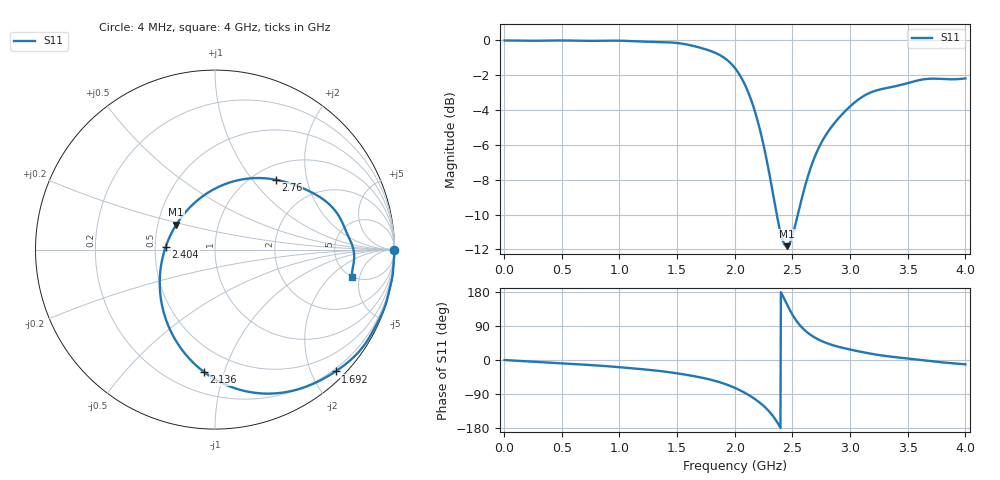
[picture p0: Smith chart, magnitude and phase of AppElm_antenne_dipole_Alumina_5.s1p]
! TOUCHSTONE file generated by CST MICROWAVE STUDIO
! Date and time: Sat May 14 12:00:58 2022
! Project name: AppElm_antenne_dipole_Alumina.cst
! Parameters = {L=33; e=0.035; f=2.45e+09; h=1.6; i=0.8; l1=2; lambda=122.449; ls=28.5; wl=1.7; ws=80}
! Header version: 2018
! Port assignment regex: !\s*Touchstone port\s*([0-9]+)\s*=\s*(CST MWS port|CST DS port)\s*([0-9]+|Zmin|Zmax)\s*\(\"(.*)\"\)(\s*mode\s*([0-9]+))?.*
! Touchstone port assignment:
! Touchstone port 1 = CST MWS port 1 ("")
# GHz S MA R 50
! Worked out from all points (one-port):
!   1000 points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, 4 MHz to 4 GHz, reference 50 ohm
!   lowest |S11| = -11.8 dB at 2.452 GHz (marker M1), VSWR 1.69, Z = 31.2 + j9.27 ohm
!   |S11| at or under -10 dB: 2.364 GHz to 2.547 GHz (182.6 MHz wide, 7.44 % of centre)
!   S11 on the Smith chart (normalised r, x): 4 MHz: open; 1.692 GHz: 0.15, -2.39; 2.136 GHz: 0.33, -0.85; 2.404 GHz: 0.57, +0.02; 2.76 GHz: 1.24, +1.32; 4 GHz: 4.91, -3.85
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0.004  1 -0.1
0.504  1 -8.7
1.004  0.9984 -19.1
1.32  0.9902 -28.0
1.504  0.983 -35.4
1.692  0.9549 -45.3
1.784  0.9344 -51.5
1.86  0.9117 -57.7
1.94  0.8753 -65.9
2.004  0.8312 -73.9
2.072  0.7652 -84.0
2.136  0.6836 -95.3
2.212  0.5651 -111.4
2.276  0.4551 -128.6
2.34  0.3501 -151.5
2.404  0.2748 176.4
2.452  0.2568 147.3
2.504  0.2781 117.6
2.56  0.3295 93.4
2.62  0.3929 75.1
2.684  0.455 61.1
2.76  0.5153 49.1
2.864  0.5789 37.8
3.004  0.6485 27.3
3.204  0.7144 15.4
3.504  0.7553 3.9
3.684  0.7762 -2.5
4  0.7781 -11.5
